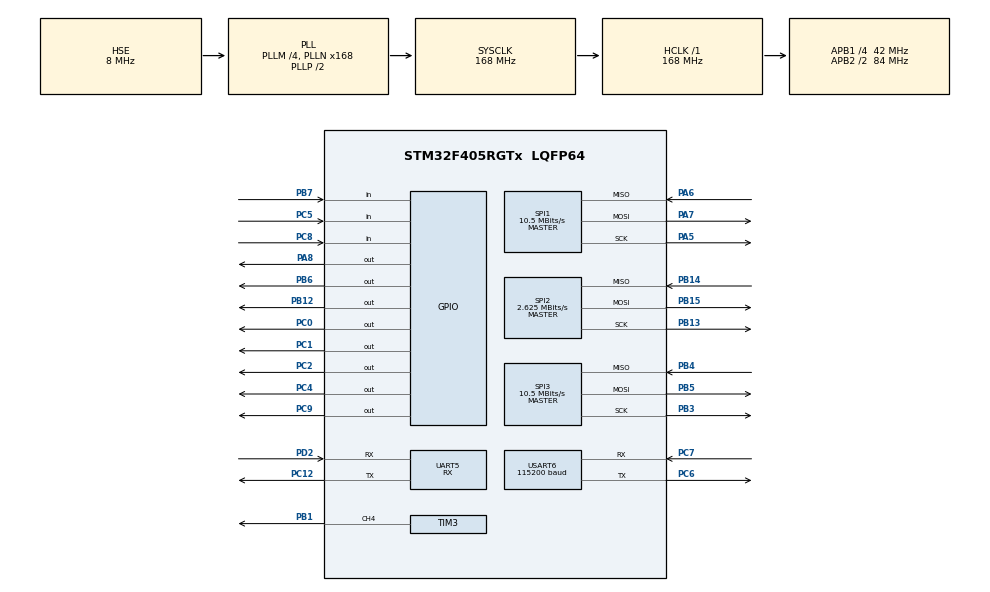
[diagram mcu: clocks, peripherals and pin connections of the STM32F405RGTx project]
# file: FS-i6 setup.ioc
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Mcu.Family=STM32F4
Mcu.Name=STM32F405RGTx
Mcu.Package=LQFP64
NVIC.PriorityGroup=NVIC_PRIORITYGROUP_4
NVIC.UART5_IRQn=true\:0\:0\:false\:false\:true\:true\:true\:true
NVIC.USART6_IRQn=true\:0\:0\:false\:false\:true\:true\:true\:true
PA5.Mode=Full_Duplex_Master
PA5.Signal=SPI1_SCK
PA6.Mode=Full_Duplex_Master
PA6.Signal=SPI1_MISO
PA7.Mode=Full_Duplex_Master
PA7.Signal=SPI1_MOSI
PA8.Signal=GPIO_Output
PB1.Signal=S_TIM3_CH4
PB12.Signal=GPIO_Output
PB13.Mode=Full_Duplex_Master
PB13.Signal=SPI2_SCK
PB14.Mode=Full_Duplex_Master
PB14.Signal=SPI2_MISO
PB15.Mode=Full_Duplex_Master
PB15.Signal=SPI2_MOSI
PB3.Mode=Full_Duplex_Master
PB3.Signal=SPI3_SCK
PB4.Mode=Full_Duplex_Master
PB4.Signal=SPI3_MISO
PB5.Mode=Full_Duplex_Master
PB5.Signal=SPI3_MOSI
PB6.Signal=GPIO_Output
PB7.Signal=GPIO_Input
PC0.Signal=GPIO_Output
PC1.Signal=GPIO_Output
PC12.Mode=Asynchronous
PC12.Signal=UART5_TX
PC2.Signal=GPIO_Output
PC4.Signal=GPIO_Output
PC5.Signal=GPIO_Input
PC6.Mode=Asynchronous
PC6.Signal=USART6_TX
PC7.Mode=Asynchronous
PC7.Signal=USART6_RX
PC8.Signal=GPIO_Input
PC9.Signal=GPIO_Output
PD2.Mode=Asynchronous
PD2.Signal=UART5_RX
PH0-OSC_IN.Mode=HSE-External-Oscillator
PH0-OSC_IN.Signal=RCC_OSC_IN
PH1-OSC_OUT.Mode=HSE-External-Oscillator
PH1-OSC_OUT.Signal=RCC_OSC_OUT
ProjectManager.HeapSize=0x200
ProjectManager.StackSize=0x400
ProjectManager.TargetToolchain=STM32CubeIDE
RCC.48MHZClocksFreq_Value=84000000
RCC.AHBFreq_Value=168000000
RCC.APB1CLKDivider=RCC_HCLK_DIV4
RCC.APB1Freq_Value=42000000
RCC.APB1TimFreq_Value=84000000
RCC.APB2CLKDivider=RCC_HCLK_DIV2
RCC.APB2Freq_Value=84000000
RCC.APB2TimFreq_Value=168000000
RCC.CortexFreq_Value=168000000
RCC.HCLKFreq_Value=168000000
RCC.HSE_VALUE=8000000
RCC.HSI_VALUE=16000000
RCC.LSE_VALUE=32768
RCC.PLLM=4
RCC.PLLN=168
RCC.PLLSourceVirtual=RCC_PLLSOURCE_HSE
RCC.SYSCLKFreq_VALUE=168000000
RCC.SYSCLKSource=RCC_SYSCLKSOURCE_PLLCLK
RCC.VCOOutputFreq_Value=336000000
SH.S_TIM3_CH4.0=TIM3_CH4,PWM Generation4 CH4
SPI1.BaudRatePrescaler=SPI_BAUDRATEPRESCALER_8
SPI1.CLKPhase=SPI_PHASE_2EDGE
SPI1.CLKPolarity=SPI_POLARITY_HIGH
SPI1.CalculateBaudRate=10.5 MBits/s
SPI1.DataSize=SPI_DATASIZE_8BIT
SPI1.Direction=SPI_DIRECTION_2LINES
SPI1.Mode=SPI_MODE_MASTER
SPI1.VirtualType=VM_MASTER
SPI2.BaudRatePrescaler=SPI_BAUDRATEPRESCALER_16
SPI2.CLKPhase=SPI_PHASE_2EDGE
SPI2.CLKPolarity=SPI_POLARITY_HIGH
SPI2.CalculateBaudRate=2.625 MBits/s
SPI2.Direction=SPI_DIRECTION_2LINES
SPI2.Mode=SPI_MODE_MASTER
SPI2.VirtualType=VM_MASTER
SPI3.BaudRatePrescaler=SPI_BAUDRATEPRESCALER_4
SPI3.CLKPhase=SPI_PHASE_2EDGE
SPI3.CLKPolarity=SPI_POLARITY_HIGH
SPI3.CalculateBaudRate=10.5 MBits/s
SPI3.Direction=SPI_DIRECTION_2LINES
SPI3.Mode=SPI_MODE_MASTER
SPI3.VirtualType=VM_MASTER
TIM3.AutoReloadPreload=TIM_AUTORELOAD_PRELOAD_ENABLE
TIM3.Channel-PWM\ Generation4\ CH4=TIM_CHANNEL_4
TIM3.OCFastMode_PWM-PWM\ Generation4\ CH4=TIM_OCFAST_ENABLE
TIM3.Period=20
TIM3.Prescaler=999
TIM3.Pulse-PWM\ Generation4\ CH4=10
UART5.Mode=MODE_RX
UART5.VirtualMode=Asynchronous
USART6.BaudRate=115200
USART6.VirtualMode=VM_ASYNC
VP_TIM3_VS_ClockSourceINT.Mode=Internal
board=custom

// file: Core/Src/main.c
/* USER CODE BEGIN Header */
/**
  ******************************************************************************
  * @file           : main.c
  * @brief          : Main program body
  ******************************************************************************
  * @attention
  *
  * Copyright (c) 2025 STMicroelectronics.
  * All rights reserved.
  *
  * This software is licensed under terms that can be found in the LICENSE file
  * in the root directory of this software component.
  * If no LICENSE file comes with this software, it is provided AS-IS.
  *
  ******************************************************************************
  */
/* USER CODE END Header */
#include "main.h"

/* USER CODE BEGIN Includes */
#include "bno080.h"
#include "quaternion.h"
#include "icm20602.h"
#include "LPS22HH.h"
#include "FS-iA6B.h"
#include <stdio.h>
/* USER CODE END Includes */

/* USER CODE BEGIN PTD */
int _write(int file, char *p, int len)
{
	for (int i = 0; i < len; i ++)
	{
		LL_USART_TransmitData8(USART6, *(p + i));
		HAL_Delay(1);
	}
	return len;
}
/* USER CODE END PTD */

/* USER CODE BEGIN PD */
#define X 0.90f // LOW PASS FILTER CONSTANT (CLOSER TO 1 -> STRONGER THE FILTER)
/* USER CODE END PD */

/* USER CODE BEGIN PV */
extern uint8_t uart6_rx_flag;
extern uint8_t uart6_rx_data;

extern uint8_t ibus_rx_buf[36];
extern uint8_t ibus_rx_cplt_flag;

extern FSiA6B_iBus iBus;
/* USER CODE END PV */

void SystemClock_Config(void);
static void MX_GPIO_Init(void);
static void MX_TIM3_Init(void);
static void MX_USART6_UART_Init(void);
static void MX_SPI2_Init(void);
static void MX_SPI1_Init(void);
static void MX_SPI3_Init(void);
static void MX_UART5_Init(void);

int main(void)
{

  /* USER CODE BEGIN 1 */
  float q[4]; // array to store components of quaternion (x, y, z, w)
  float quatRadianAccuracy;
  /* USER CODE END 1 */

  /* MCU Configuration--------------------------------------------------------*/

  /* Reset of all peripherals, Initializes the Flash interface and the Systick. */
  HAL_Init();

  /* Configure the system clock */
  SystemClock_Config();

  /* Initialize all configured peripherals */
  MX_GPIO_Init();
  MX_TIM3_Init();
  MX_USART6_UART_Init();
  MX_SPI2_Init();
  MX_SPI1_Init();
  MX_SPI3_Init();
  MX_UART5_Init();
  /* USER CODE BEGIN 2 */
  LL_TIM_CC_EnableChannel(TIM3, LL_TIM_CHANNEL_CH4);
  LL_TIM_EnableCounter(TIM3);

  TIM3->PSC = 2000;
  HAL_Delay(100);
  TIM3->PSC = 1500;
  HAL_Delay(100);
  TIM3->PSC = 1000;
  HAL_Delay(100);

  LL_TIM_CC_DisableChannel(TIM3, LL_TIM_CHANNEL_CH4);

  LL_USART_EnableIT_RXNE(USART6);
  // TODO: enable interrupt pin for GPS module
  LL_USART_EnableIT_RXNE(UART5);

  // initialize 9-axis sensor for rotation vector
  BNO080_Initialization();
  BNO080_enableRotationVector(2500);

  // initialize 6-axis sensor for angular velocity
  ICM20602_Initialization();

  // initialize barometric sensor for altitude
  LPS22HH_Initialization();
  /* USER CODE END 2 */

  /* Infinite loop */
  while (1)
  {

    /* USER CODE BEGIN 3 */
	/*
	if (BNO080_dataAvailable())
	{
		q[0] = BNO080_getQuatI();
		q[1] = BNO080_getQuatJ();
		q[2] = BNO080_getQuatK();
		q[3] = BNO080_getQuatReal();
		quatRadianAccuracy = BNO080_getQuatRealAccuracy();

		Quaternion_Update(&q[0]);

		printf("R: %d, P: %d, Y: %d\n", (int) (BNO080_Roll * 100), (int) (BNO080_Pitch * 100), (int) (BNO080_Yaw * 100));
	}

	if (ICM20602_DataReady())
	{
		ICM20602_Get3AxisGyroRawData(&ICM20602->gyro_x_raw);

		ICM20602->gyro_x = ICM20602->gyro_x_raw * 2000.f / 32768.f;
		ICM20602->gyro_y = ICM20602->gyro_y_raw * 2000.f / 32768.f;
		ICM20602->gyro_z = ICM20602->gyro_z_raw * 2000.f / 32768.f;

		printf("%d %d %d\n", ICM20602->gyro_x_raw, ICM20602->gyro_y_raw, ICM20602->gyro_z_raw);
		printf("%d %d %d\n", (int)(ICM20602->gyro_x*100), (int)(ICM20602->gyro_y*100), (int)(ICM20602->gyro_z*100));
	}

	if (LPS22HH_DataReady())
	{
		LPS22HH_GetPressure(&LPS22HH.pressure_raw);
		LPS22HH_GetTemperature(&LPS22HH.temperature_raw);

		LPS22HH.baroAlt = getAltitude2(LPS22HH.pressure_raw/4096.f, LPS22HH.temperature_raw/100.f); // altitude in cms

		LPS22HH.baroAltFilt = LPS22HH.baroAltFilt * X + LPS22HH.baroAlt * (1.0f - X);

		printf("%d %d\n", (int) (LPS22HH.baroAlt*100), (int) (LPS22HH.baroAltFilt*100));
	}
	*/

    if (ibus_rx_cplt_flag)
    {
    	ibus_rx_cplt_flag = 0;
    	if (iBus_Check_CHKSUM(&ibus_rx_buf[0], 32))
    	{
        	LL_GPIO_TogglePin(GPIOC, LL_GPIO_PIN_2); // toggle LED if iBus frame checksum successful --> intact iBus frame

        	iBus_Parse(&ibus_rx_buf[0], &iBus); // parse and store switch/gimbal data in iBus structure

        	printf("%d\t%d\t%d\t%d\t%d\t%d\t\n", iBus.RH, iBus.RV, iBus.LV, iBus.LH, iBus.SwA, iBus.SwC);

        	HAL_Delay(30);
    	}
    }
  }
  /* USER CODE END 3 */
}

void SystemClock_Config(void)
{
  RCC_OscInitTypeDef RCC_OscInitStruct = {0};
  RCC_ClkInitTypeDef RCC_ClkInitStruct = {0};

  /** Configure the main internal regulator output voltage
  */
  __HAL_RCC_PWR_CLK_ENABLE();
  __HAL_PWR_VOLTAGESCALING_CONFIG(PWR_REGULATOR_VOLTAGE_SCALE1);

  /** Initializes the RCC Oscillators according to the specified parameters
  * in the RCC_OscInitTypeDef structure.
  */
  RCC_OscInitStruct.OscillatorType = RCC_OSCILLATORTYPE_HSE;
  RCC_OscInitStruct.HSEState = RCC_HSE_ON;
  RCC_OscInitStruct.PLL.PLLState = RCC_PLL_ON;
  RCC_OscInitStruct.PLL.PLLSource = RCC_PLLSOURCE_HSE;
  RCC_OscInitStruct.PLL.PLLM = 4;
  RCC_OscInitStruct.PLL.PLLN = 168;
  RCC_OscInitStruct.PLL.PLLP = RCC_PLLP_DIV2;
  RCC_OscInitStruct.PLL.PLLQ = 4;
  if (HAL_RCC_OscConfig(&RCC_OscInitStruct) != HAL_OK)
  {
    Error_Handler();
  }

  /** Initializes the CPU, AHB and APB buses clocks
  */
  RCC_ClkInitStruct.ClockType = RCC_CLOCKTYPE_HCLK|RCC_CLOCKTYPE_SYSCLK
                              |RCC_CLOCKTYPE_PCLK1|RCC_CLOCKTYPE_PCLK2;
  RCC_ClkInitStruct.SYSCLKSource = RCC_SYSCLKSOURCE_PLLCLK;
  RCC_ClkInitStruct.AHBCLKDivider = RCC_SYSCLK_DIV1;
  RCC_ClkInitStruct.APB1CLKDivider = RCC_HCLK_DIV4;
  RCC_ClkInitStruct.APB2CLKDivider = RCC_HCLK_DIV2;

  if (HAL_RCC_ClockConfig(&RCC_ClkInitStruct, FLASH_LATENCY_5) != HAL_OK)
  {
    Error_Handler();
  }
}

static void MX_SPI1_Init(void)
{

  LL_SPI_InitTypeDef SPI_InitStruct = {0};

  LL_GPIO_InitTypeDef GPIO_InitStruct = {0};

  /* Peripheral clock enable */
  LL_APB2_GRP1_EnableClock(LL_APB2_GRP1_PERIPH_SPI1);

  LL_AHB1_GRP1_EnableClock(LL_AHB1_GRP1_PERIPH_GPIOA);
  /**SPI1 GPIO Configuration
  PA5   ------> SPI1_SCK
  PA6   ------> SPI1_MISO
  PA7   ------> SPI1_MOSI
  */
  GPIO_InitStruct.Pin = LL_GPIO_PIN_5|LL_GPIO_PIN_6|LL_GPIO_PIN_7;
  GPIO_InitStruct.Mode = LL_GPIO_MODE_ALTERNATE;
  GPIO_InitStruct.Speed = LL_GPIO_SPEED_FREQ_VERY_HIGH;
  GPIO_InitStruct.OutputType = LL_GPIO_OUTPUT_PUSHPULL;
  GPIO_InitStruct.Pull = LL_GPIO_PULL_NO;
  GPIO_InitStruct.Alternate = LL_GPIO_AF_5;
  LL_GPIO_Init(GPIOA, &GPIO_InitStruct);

  /* SPI1 parameter configuration*/
  SPI_InitStruct.TransferDirection = LL_SPI_FULL_DUPLEX;
  SPI_InitStruct.Mode = LL_SPI_MODE_MASTER;
  SPI_InitStruct.DataWidth = LL_SPI_DATAWIDTH_8BIT;
  SPI_InitStruct.ClockPolarity = LL_SPI_POLARITY_HIGH;
  SPI_InitStruct.ClockPhase = LL_SPI_PHASE_2EDGE;
  SPI_InitStruct.NSS = LL_SPI_NSS_SOFT;
  SPI_InitStruct.BaudRate = LL_SPI_BAUDRATEPRESCALER_DIV8;
  SPI_InitStruct.BitOrder = LL_SPI_MSB_FIRST;
  SPI_InitStruct.CRCCalculation = LL_SPI_CRCCALCULATION_DISABLE;
  SPI_InitStruct.CRCPoly = 10;
  LL_SPI_Init(SPI1, &SPI_InitStruct);
  LL_SPI_SetStandard(SPI1, LL_SPI_PROTOCOL_MOTOROLA);

}

static void MX_SPI2_Init(void)
{

  LL_SPI_InitTypeDef SPI_InitStruct = {0};

  LL_GPIO_InitTypeDef GPIO_InitStruct = {0};

  /* Peripheral clock enable */
  LL_APB1_GRP1_EnableClock(LL_APB1_GRP1_PERIPH_SPI2);

  LL_AHB1_GRP1_EnableClock(LL_AHB1_GRP1_PERIPH_GPIOB);
  /**SPI2 GPIO Configuration
  PB13   ------> SPI2_SCK
  PB14   ------> SPI2_MISO
  PB15   ------> SPI2_MOSI
  */
  GPIO_InitStruct.Pin = LL_GPIO_PIN_13|LL_GPIO_PIN_14|LL_GPIO_PIN_15;
  GPIO_InitStruct.Mode = LL_GPIO_MODE_ALTERNATE;
  GPIO_InitStruct.Speed = LL_GPIO_SPEED_FREQ_VERY_HIGH;
  GPIO_InitStruct.OutputType = LL_GPIO_OUTPUT_PUSHPULL;
  GPIO_InitStruct.Pull = LL_GPIO_PULL_NO;
  GPIO_InitStruct.Alternate = LL_GPIO_AF_5;
  LL_GPIO_Init(GPIOB, &GPIO_InitStruct);

  /* SPI2 parameter configuration*/
  SPI_InitStruct.TransferDirection = LL_SPI_FULL_DUPLEX;
  SPI_InitStruct.Mode = LL_SPI_MODE_MASTER;
  SPI_InitStruct.DataWidth = LL_SPI_DATAWIDTH_8BIT;
  SPI_InitStruct.ClockPolarity = LL_SPI_POLARITY_HIGH;
  SPI_InitStruct.ClockPhase = LL_SPI_PHASE_2EDGE;
  SPI_InitStruct.NSS = LL_SPI_NSS_SOFT;
  SPI_InitStruct.BaudRate = LL_SPI_BAUDRATEPRESCALER_DIV16;
  SPI_InitStruct.BitOrder = LL_SPI_MSB_FIRST;
  SPI_InitStruct.CRCCalculation = LL_SPI_CRCCALCULATION_DISABLE;
  SPI_InitStruct.CRCPoly = 10;
  LL_SPI_Init(SPI2, &SPI_InitStruct);
  LL_SPI_SetStandard(SPI2, LL_SPI_PROTOCOL_MOTOROLA);

}

static void MX_SPI3_Init(void)
{

  LL_SPI_InitTypeDef SPI_InitStruct = {0};

  LL_GPIO_InitTypeDef GPIO_InitStruct = {0};

  /* Peripheral clock enable */
  LL_APB1_GRP1_EnableClock(LL_APB1_GRP1_PERIPH_SPI3);

  LL_AHB1_GRP1_EnableClock(LL_AHB1_GRP1_PERIPH_GPIOB);
  /**SPI3 GPIO Configuration
  PB3   ------> SPI3_SCK
  PB4   ------> SPI3_MISO
  PB5   ------> SPI3_MOSI
  */
  GPIO_InitStruct.Pin = LL_GPIO_PIN_3|LL_GPIO_PIN_4|LL_GPIO_PIN_5;
  GPIO_InitStruct.Mode = LL_GPIO_MODE_ALTERNATE;
  GPIO_InitStruct.Speed = LL_GPIO_SPEED_FREQ_VERY_HIGH;
  GPIO_InitStruct.OutputType = LL_GPIO_OUTPUT_PUSHPULL;
  GPIO_InitStruct.Pull = LL_GPIO_PULL_NO;
  GPIO_InitStruct.Alternate = LL_GPIO_AF_6;
  LL_GPIO_Init(GPIOB, &GPIO_InitStruct);

  /* SPI3 parameter configuration*/
  SPI_InitStruct.TransferDirection = LL_SPI_FULL_DUPLEX;
  SPI_InitStruct.Mode = LL_SPI_MODE_MASTER;
  SPI_InitStruct.DataWidth = LL_SPI_DATAWIDTH_8BIT;
  SPI_InitStruct.ClockPolarity = LL_SPI_POLARITY_HIGH;
  SPI_InitStruct.ClockPhase = LL_SPI_PHASE_2EDGE;
  SPI_InitStruct.NSS = LL_SPI_NSS_SOFT;
  SPI_InitStruct.BaudRate = LL_SPI_BAUDRATEPRESCALER_DIV4;
  SPI_InitStruct.BitOrder = LL_SPI_MSB_FIRST;
  SPI_InitStruct.CRCCalculation = LL_SPI_CRCCALCULATION_DISABLE;
  SPI_InitStruct.CRCPoly = 10;
  LL_SPI_Init(SPI3, &SPI_InitStruct);
  LL_SPI_SetStandard(SPI3, LL_SPI_PROTOCOL_MOTOROLA);

}

static void MX_TIM3_Init(void)
{

  LL_TIM_InitTypeDef TIM_InitStruct = {0};
  LL_TIM_OC_InitTypeDef TIM_OC_InitStruct = {0};

  LL_GPIO_InitTypeDef GPIO_InitStruct = {0};

  /* Peripheral clock enable */
  LL_APB1_GRP1_EnableClock(LL_APB1_GRP1_PERIPH_TIM3);

  TIM_InitStruct.Prescaler = 999;
  TIM_InitStruct.CounterMode = LL_TIM_COUNTERMODE_UP;
  TIM_InitStruct.Autoreload = 20;
  TIM_InitStruct.ClockDivision = LL_TIM_CLOCKDIVISION_DIV1;
  LL_TIM_Init(TIM3, &TIM_InitStruct);
  LL_TIM_EnableARRPreload(TIM3);
  LL_TIM_SetClockSource(TIM3, LL_TIM_CLOCKSOURCE_INTERNAL);
  LL_TIM_OC_EnablePreload(TIM3, LL_TIM_CHANNEL_CH4);
  TIM_OC_InitStruct.OCMode = LL_TIM_OCMODE_PWM1;
  TIM_OC_InitStruct.OCState = LL_TIM_OCSTATE_DISABLE;
  TIM_OC_InitStruct.OCNState = LL_TIM_OCSTATE_DISABLE;
  TIM_OC_InitStruct.CompareValue = 10;
  TIM_OC_InitStruct.OCPolarity = LL_TIM_OCPOLARITY_HIGH;
  LL_TIM_OC_Init(TIM3, LL_TIM_CHANNEL_CH4, &TIM_OC_InitStruct);
  LL_TIM_OC_EnableFast(TIM3, LL_TIM_CHANNEL_CH4);
  LL_TIM_SetTriggerOutput(TIM3, LL_TIM_TRGO_RESET);
  LL_TIM_DisableMasterSlaveMode(TIM3);
  LL_AHB1_GRP1_EnableClock(LL_AHB1_GRP1_PERIPH_GPIOB);
  /**TIM3 GPIO Configuration
  PB1   ------> TIM3_CH4
  */
  GPIO_InitStruct.Pin = LL_GPIO_PIN_1;
  GPIO_InitStruct.Mode = LL_GPIO_MODE_ALTERNATE;
  GPIO_InitStruct.Speed = LL_GPIO_SPEED_FREQ_LOW;
  GPIO_InitStruct.OutputType = LL_GPIO_OUTPUT_PUSHPULL;
  GPIO_InitStruct.Pull = LL_GPIO_PULL_NO;
  GPIO_InitStruct.Alternate = LL_GPIO_AF_2;
  LL_GPIO_Init(GPIOB, &GPIO_InitStruct);

}

static void MX_UART5_Init(void)
{

  LL_USART_InitTypeDef USART_InitStruct = {0};

  LL_GPIO_InitTypeDef GPIO_InitStruct = {0};

  /* Peripheral clock enable */
  LL_APB1_GRP1_EnableClock(LL_APB1_GRP1_PERIPH_UART5);

  LL_AHB1_GRP1_EnableClock(LL_AHB1_GRP1_PERIPH_GPIOC);
  LL_AHB1_GRP1_EnableClock(LL_AHB1_GRP1_PERIPH_GPIOD);
  /**UART5 GPIO Configuration
  PC12   ------> UART5_TX
  PD2   ------> UART5_RX
  */
  GPIO_InitStruct.Pin = LL_GPIO_PIN_12;
  GPIO_InitStruct.Mode = LL_GPIO_MODE_ALTERNATE;
  GPIO_InitStruct.Speed = LL_GPIO_SPEED_FREQ_VERY_HIGH;
  GPIO_InitStruct.OutputType = LL_GPIO_OUTPUT_PUSHPULL;
  GPIO_InitStruct.Pull = LL_GPIO_PULL_NO;
  GPIO_InitStruct.Alternate = LL_GPIO_AF_8;
  LL_GPIO_Init(GPIOC, &GPIO_InitStruct);

  GPIO_InitStruct.Pin = LL_GPIO_PIN_2;
  GPIO_InitStruct.Mode = LL_GPIO_MODE_ALTERNATE;
  GPIO_InitStruct.Speed = LL_GPIO_SPEED_FREQ_VERY_HIGH;
  GPIO_InitStruct.OutputType = LL_GPIO_OUTPUT_PUSHPULL;
  GPIO_InitStruct.Pull = LL_GPIO_PULL_NO;
  GPIO_InitStruct.Alternate = LL_GPIO_AF_8;
  LL_GPIO_Init(GPIOD, &GPIO_InitStruct);

  /* UART5 interrupt Init */
  NVIC_SetPriority(UART5_IRQn, NVIC_EncodePriority(NVIC_GetPriorityGrouping(),0, 0));
  NVIC_EnableIRQ(UART5_IRQn);

  USART_InitStruct.BaudRate = 115200;
  USART_InitStruct.DataWidth = LL_USART_DATAWIDTH_8B;
  USART_InitStruct.StopBits = LL_USART_STOPBITS_1;
  USART_InitStruct.Parity = LL_USART_PARITY_NONE;
  USART_InitStruct.TransferDirection = LL_USART_DIRECTION_RX;
  USART_InitStruct.HardwareFlowControl = LL_USART_HWCONTROL_NONE;
  USART_InitStruct.OverSampling = LL_USART_OVERSAMPLING_16;
  LL_USART_Init(UART5, &USART_InitStruct);
  LL_USART_ConfigAsyncMode(UART5);
  LL_USART_Enable(UART5);

}

static void MX_USART6_UART_Init(void)
{

  LL_USART_InitTypeDef USART_InitStruct = {0};

  LL_GPIO_InitTypeDef GPIO_InitStruct = {0};

  /* Peripheral clock enable */
  LL_APB2_GRP1_EnableClock(LL_APB2_GRP1_PERIPH_USART6);

  LL_AHB1_GRP1_EnableClock(LL_AHB1_GRP1_PERIPH_GPIOC);
  /**USART6 GPIO Configuration
  PC6   ------> USART6_TX
  PC7   ------> USART6_RX
  */
  GPIO_InitStruct.Pin = LL_GPIO_PIN_6|LL_GPIO_PIN_7;
  GPIO_InitStruct.Mode = LL_GPIO_MODE_ALTERNATE;
  GPIO_InitStruct.Speed = LL_GPIO_SPEED_FREQ_VERY_HIGH;
  GPIO_InitStruct.OutputType = LL_GPIO_OUTPUT_PUSHPULL;
  GPIO_InitStruct.Pull = LL_GPIO_PULL_NO;
  GPIO_InitStruct.Alternate = LL_GPIO_AF_8;
  LL_GPIO_Init(GPIOC, &GPIO_InitStruct);

  /* USART6 interrupt Init */
  NVIC_SetPriority(USART6_IRQn, NVIC_EncodePriority(NVIC_GetPriorityGrouping(),0, 0));
  NVIC_EnableIRQ(USART6_IRQn);

  USART_InitStruct.BaudRate = 115200;
  USART_InitStruct.DataWidth = LL_USART_DATAWIDTH_8B;
  USART_InitStruct.StopBits = LL_USART_STOPBITS_1;
  USART_InitStruct.Parity = LL_USART_PARITY_NONE;
  USART_InitStruct.TransferDirection = LL_USART_DIRECTION_TX_RX;
  USART_InitStruct.HardwareFlowControl = LL_USART_HWCONTROL_NONE;
  USART_InitStruct.OverSampling = LL_USART_OVERSAMPLING_16;
  LL_USART_Init(USART6, &USART_InitStruct);
  LL_USART_ConfigAsyncMode(USART6);
  LL_USART_Enable(USART6);

}

static void MX_GPIO_Init(void)
{
  LL_GPIO_InitTypeDef GPIO_InitStruct = {0};

  /* GPIO Ports Clock Enable */
  LL_AHB1_GRP1_EnableClock(LL_AHB1_GRP1_PERIPH_GPIOH);
  LL_AHB1_GRP1_EnableClock(LL_AHB1_GRP1_PERIPH_GPIOC);
  LL_AHB1_GRP1_EnableClock(LL_AHB1_GRP1_PERIPH_GPIOA);
  LL_AHB1_GRP1_EnableClock(LL_AHB1_GRP1_PERIPH_GPIOB);
  LL_AHB1_GRP1_EnableClock(LL_AHB1_GRP1_PERIPH_GPIOD);

  /**/
  LL_GPIO_ResetOutputPin(GPIOC, LL_GPIO_PIN_0|LL_GPIO_PIN_1|LL_GPIO_PIN_2|LL_GPIO_PIN_4
                          |LL_GPIO_PIN_9);

  /**/
  LL_GPIO_ResetOutputPin(GPIOB, LL_GPIO_PIN_12|LL_GPIO_PIN_6);

  /**/
  LL_GPIO_ResetOutputPin(GPIOA, LL_GPIO_PIN_8);

  /**/
  GPIO_InitStruct.Pin = LL_GPIO_PIN_0|LL_GPIO_PIN_1|LL_GPIO_PIN_2|LL_GPIO_PIN_4
                          |LL_GPIO_PIN_9;
  GPIO_InitStruct.Mode = LL_GPIO_MODE_OUTPUT;
  GPIO_InitStruct.Speed = LL_GPIO_SPEED_FREQ_LOW;
  GPIO_InitStruct.OutputType = LL_GPIO_OUTPUT_PUSHPULL;
  GPIO_InitStruct.Pull = LL_GPIO_PULL_NO;
  LL_GPIO_Init(GPIOC, &GPIO_InitStruct);

  /**/
  GPIO_InitStruct.Pin = LL_GPIO_PIN_5|LL_GPIO_PIN_8;
  GPIO_InitStruct.Mode = LL_GPIO_MODE_INPUT;
  GPIO_InitStruct.Pull = LL_GPIO_PULL_NO;
  LL_GPIO_Init(GPIOC, &GPIO_InitStruct);

  /**/
  GPIO_InitStruct.Pin = LL_GPIO_PIN_12|LL_GPIO_PIN_6;
  GPIO_InitStruct.Mode = LL_GPIO_MODE_OUTPUT;
  GPIO_InitStruct.Speed = LL_GPIO_SPEED_FREQ_LOW;
  GPIO_InitStruct.OutputType = LL_GPIO_OUTPUT_PUSHPULL;
  GPIO_InitStruct.Pull = LL_GPIO_PULL_NO;
  LL_GPIO_Init(GPIOB, &GPIO_InitStruct);

  /**/
  GPIO_InitStruct.Pin = LL_GPIO_PIN_8;
  GPIO_InitStruct.Mode = LL_GPIO_MODE_OUTPUT;
  GPIO_InitStruct.Speed = LL_GPIO_SPEED_FREQ_LOW;
  GPIO_InitStruct.OutputType = LL_GPIO_OUTPUT_PUSHPULL;
  GPIO_InitStruct.Pull = LL_GPIO_PULL_NO;
  LL_GPIO_Init(GPIOA, &GPIO_InitStruct);

  /**/
  GPIO_InitStruct.Pin = LL_GPIO_PIN_7;
  GPIO_InitStruct.Mode = LL_GPIO_MODE_INPUT;
  GPIO_InitStruct.Pull = LL_GPIO_PULL_NO;
  LL_GPIO_Init(GPIOB, &GPIO_InitStruct);

}

void Error_Handler(void)
{
  __disable_irq();
  while (1)
  {
  }
}
